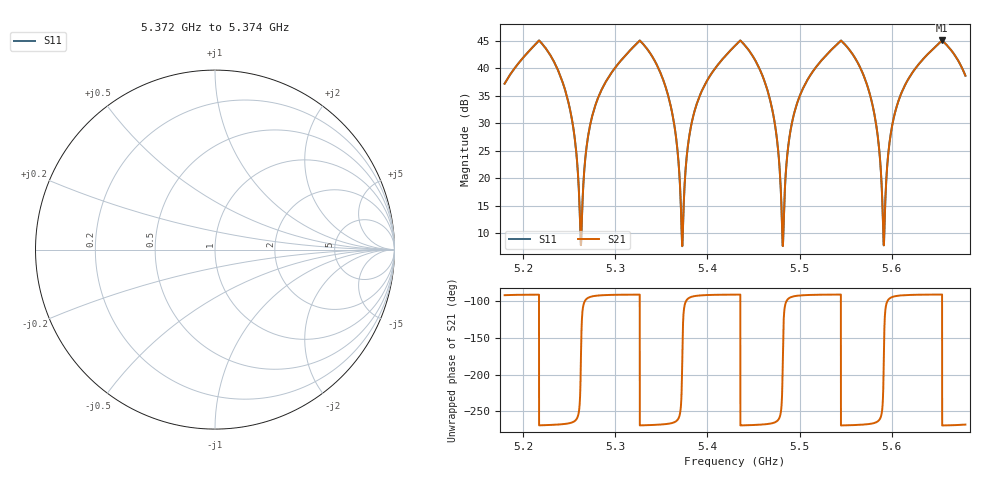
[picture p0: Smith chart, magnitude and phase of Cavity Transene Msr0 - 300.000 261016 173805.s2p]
# HZ S RI R 50
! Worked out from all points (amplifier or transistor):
!   5000 points, 5.18 GHz to 5.68 GHz, reference 50 ohm
!   highest |S21| = 45.1 dB at 5.655 GHz (marker M1)
!   |S21| within 3 dB of that: 5.636 GHz to 5.67 GHz (33.46 MHz wide, 0.592 % of centre)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
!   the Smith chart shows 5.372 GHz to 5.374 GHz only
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5.18e9  -2.044 -72.74  -2.044 -72.74  0 0  0 0
5.199004e9  -2.258 -122.2  -2.258 -122.2  0 0  0 0
5.214807e9  -2.798 -170.8  -2.798 -170.8  0 0  0 0
5.219908e9  -3.007 170.9  -3.007 170.9  0 0  0 0
5.249214e9  -3.049 49.15  -3.049 49.15  0 0  0 0
5.263417e9  -2.44 -2.033  -2.44 -2.033  0 0  0 0
5.324129e9  -2.612 -171.4  -2.612 -171.4  0 0  0 0
5.32923e9  -2.8 170.9  -2.8 170.9  0 0  0 0
5.346733e9  -3.177 101.3  -3.177 101.3  0 0  0 0
5.376839e9  -2.275 -13.25  -2.275 -13.25  0 0  0 0
5.43005e9  -2.436 -161.4  -2.436 -161.4  0 0  0 0
5.433251e9  -2.531 -171.5  -2.531 -171.5  0 0  0 0
5.438352e9  -2.698 171  -2.698 171  0 0  0 0
5.48036e9  -2.465 5.141  -2.465 5.141  0 0  0 0
5.513367e9  -1.924 -91.12  -1.924 -91.12  0 0  0 0
5.542372e9  -2.408 -171.6  -2.408 -171.6  0 0  0 0
5.547474e9  -2.562 171.7  -2.562 171.7  0 0  0 0
5.596683e9  -2.292 -17.82  -2.292 -17.82  0 0  0 0
5.652194e9  -2.294 -172.2  -2.294 -172.2  0 0  0 0
5.654695e9  -2.363 -180  -2.363 -180  0 0  0 0
5.657296e9  -2.437 171.7  -2.437 171.7  0 0  0 0
5.68e9  -2.948 86  -2.948 86  0 0  0 0
